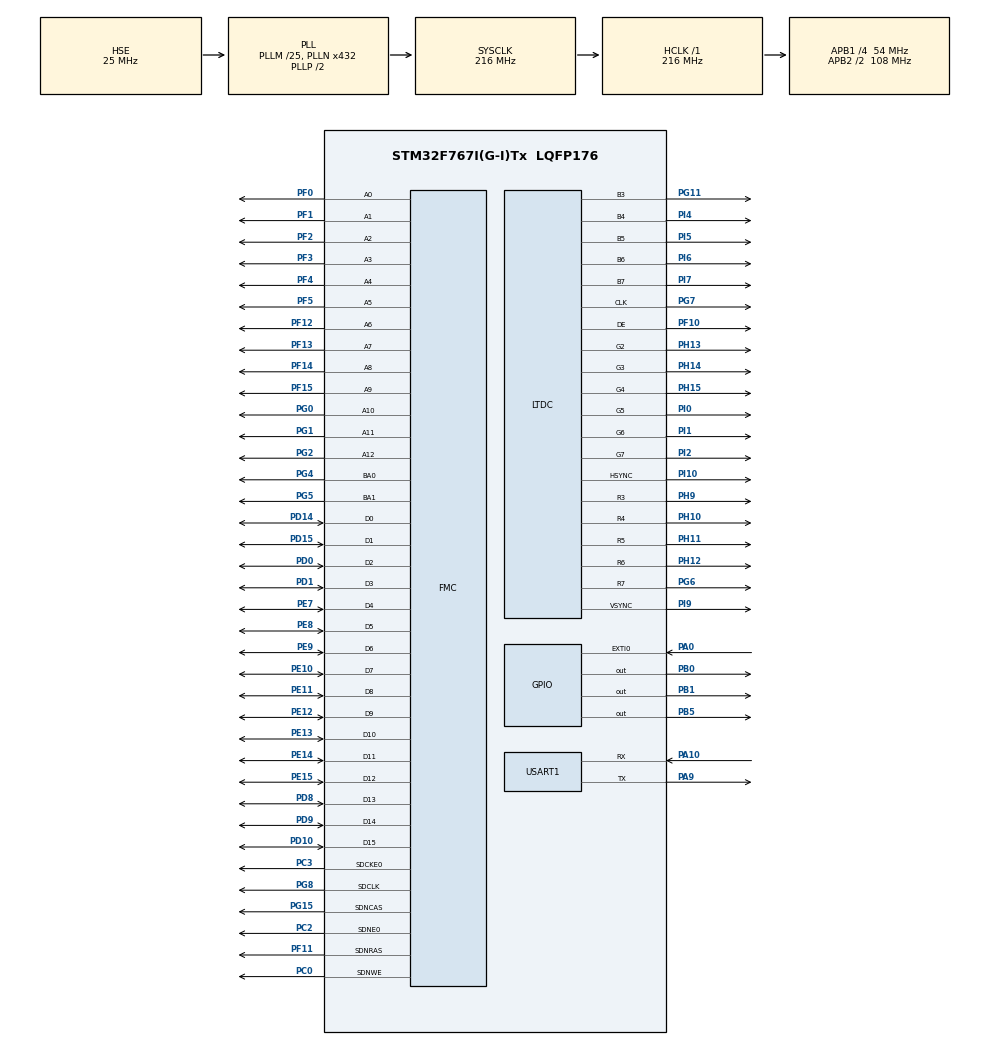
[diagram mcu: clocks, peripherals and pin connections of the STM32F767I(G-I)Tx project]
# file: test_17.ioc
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CORTEX_M7.MPU_Control=__NULL
CORTEX_M7.default_mode_Activation=1
DMA2D.ColorMode=DMA2D_OUTPUT_RGB565
FMC.CASLatency1=FMC_SDRAM_CAS_LATENCY_3
FMC.ColumnBitsNumber1=FMC_SDRAM_COLUMN_BITS_NUM_9
FMC.ExitSelfRefreshDelay1=8
FMC.LoadToActiveDelay1=2
FMC.RCDDelay1=2
FMC.RPDelay1=2
FMC.ReadBurst1=FMC_SDRAM_RBURST_ENABLE
FMC.ReadPipeDelay1=FMC_SDRAM_RPIPE_DELAY_1
FMC.RowCycleDelay1=6
FMC.SDClockPeriod1=FMC_SDRAM_CLOCK_PERIOD_2
FMC.SelfRefreshTime1=6
FMC.WriteRecoveryTime1=4
LTDC.ActiveW=800
LTDC.Alpha_L0=255
LTDC.BlendingFactor1_L0=LTDC_BLENDING_FACTOR1_PAxCA
LTDC.BlendingFactor2_L0=LTDC_BLENDING_FACTOR2_PAxCA
LTDC.FBStartAdress_L0=0xc0000000
LTDC.HBP=88
LTDC.HFP=40
LTDC.HSync=48
LTDC.ImageHeight_L0=480
LTDC.ImageWidth_L0=800
LTDC.ImageWidth_L1=0
LTDC.PixelFormat_L0=LTDC_PIXEL_FORMAT_RGB565
LTDC.PixelFormat_L1=LTDC_PIXEL_FORMAT_RGB565
LTDC.VBP=32
LTDC.VFP=13
LTDC.VSync=3
LTDC.WindowX1_L0=800
LTDC.WindowY1_L0=480
Mcu.Family=STM32F7
Mcu.Name=STM32F767I(G-I)Tx
Mcu.Package=LQFP176
NVIC.EXTI0_IRQn=true\:2\:2\:true\:false\:true\:true\:true\:true
NVIC.PriorityGroup=NVIC_PRIORITYGROUP_2
NVIC.USART1_IRQn=true\:3\:3\:true\:false\:true\:true\:true\:true
PA0/WKUP.GPIO_PuPd=GPIO_PULLDOWN
PA0/WKUP.Signal=GPXTI0
PA10.GPIO_PuPd=GPIO_PULLUP
PA10.GPIO_Speed=GPIO_SPEED_FREQ_HIGH
PA10.Mode=Asynchronous
PA10.Signal=USART1_RX
PA9.GPIO_ModeDefaultPP=GPIO_MODE_AF_PP
PA9.GPIO_PuPd=GPIO_PULLUP
PA9.GPIO_Speed=GPIO_SPEED_FREQ_HIGH
PA9.Mode=Asynchronous
PA9.Signal=USART1_TX
PB0.GPIO_PuPd=GPIO_PULLUP
PB0.GPIO_Speed=GPIO_SPEED_FREQ_HIGH
PB0.PinState=GPIO_PIN_SET
PB0.Signal=GPIO_Output
PB1.GPIO_PuPd=GPIO_PULLUP
PB1.GPIO_Speed=GPIO_SPEED_FREQ_HIGH
PB1.PinState=GPIO_PIN_SET
PB1.Signal=GPIO_Output
PB5.GPIO_PuPd=GPIO_PULLUP
PB5.GPIO_Speed=GPIO_SPEED_FREQ_HIGH
PB5.Signal=GPIO_Output
PC0.GPIO_Mode=GPIO_MODE_AF_PP
PC0.GPIO_PuPd=GPIO_PULLUP
PC0.GPIO_Speed_High_Default=GPIO_SPEED_FREQ_HIGH
PC0.Signal=FMC_SDNWE
PC14/OSC32_IN.Mode=LSE-External-Oscillator
PC14/OSC32_IN.Signal=RCC_OSC32_IN
PC15/OSC32_OUT.Mode=LSE-External-Oscillator
PC15/OSC32_OUT.Signal=RCC_OSC32_OUT
PC2.GPIO_Mode=GPIO_MODE_AF_PP
PC2.GPIO_PuPd=GPIO_PULLUP
PC2.GPIO_Speed_High_Default=GPIO_SPEED_FREQ_HIGH
PC2.Mode=SdramChipSelect1_1
PC2.Signal=FMC_SDNE0
PC3.GPIO_Mode=GPIO_MODE_AF_PP
PC3.GPIO_PuPd=GPIO_PULLUP
PC3.GPIO_Speed_High_Default=GPIO_SPEED_FREQ_HIGH
PC3.Mode=SdramChipSelect1_1
PC3.Signal=FMC_SDCKE0
PD0.GPIO_Mode=GPIO_MODE_AF_PP
PD0.GPIO_PuPd=GPIO_PULLUP
PD0.GPIO_Speed_High_Default=GPIO_SPEED_FREQ_HIGH
PD0.Signal=FMC_D2_DA2
PD1.GPIO_Mode=GPIO_MODE_AF_PP
PD1.GPIO_PuPd=GPIO_PULLUP
PD1.GPIO_Speed_High_Default=GPIO_SPEED_FREQ_HIGH
PD1.Signal=FMC_D3_DA3
PD10.GPIO_Mode=GPIO_MODE_AF_PP
PD10.GPIO_PuPd=GPIO_PULLUP
PD10.GPIO_Speed_High_Default=GPIO_SPEED_FREQ_HIGH
PD10.Signal=FMC_D15_DA15
PD14.GPIO_Mode=GPIO_MODE_AF_PP
PD14.GPIO_PuPd=GPIO_PULLUP
PD14.GPIO_Speed_High_Default=GPIO_SPEED_FREQ_HIGH
PD14.Signal=FMC_D0_DA0
PD15.GPIO_Mode=GPIO_MODE_AF_PP
PD15.GPIO_PuPd=GPIO_PULLUP
PD15.GPIO_Speed_High_Default=GPIO_SPEED_FREQ_HIGH
PD15.Signal=FMC_D1_DA1
PD8.GPIO_Mode=GPIO_MODE_AF_PP
PD8.GPIO_PuPd=GPIO_PULLUP
PD8.GPIO_Speed_High_Default=GPIO_SPEED_FREQ_HIGH
PD8.Signal=FMC_D13_DA13
PD9.GPIO_Mode=GPIO_MODE_AF_PP
PD9.GPIO_PuPd=GPIO_PULLUP
PD9.GPIO_Speed_High_Default=GPIO_SPEED_FREQ_HIGH
PD9.Signal=FMC_D14_DA14
PE0.GPIO_Mode=GPIO_MODE_AF_PP
PE0.GPIO_PuPd=GPIO_PULLUP
PE0.GPIO_Speed_High_Default=GPIO_SPEED_FREQ_HIGH
PE0.Signal=FMC_NBL0
PE1.GPIO_Mode=GPIO_MODE_AF_PP
PE1.GPIO_PuPd=GPIO_PULLUP
PE1.GPIO_Speed_High_Default=GPIO_SPEED_FREQ_HIGH
PE1.Signal=FMC_NBL1
PE10.GPIO_Mode=GPIO_MODE_AF_PP
PE10.GPIO_PuPd=GPIO_PULLUP
PE10.GPIO_Speed_High_Default=GPIO_SPEED_FREQ_HIGH
PE10.Signal=FMC_D7_DA7
PE11.GPIO_Mode=GPIO_MODE_AF_PP
PE11.GPIO_PuPd=GPIO_PULLUP
PE11.GPIO_Speed_High_Default=GPIO_SPEED_FREQ_HIGH
PE11.Signal=FMC_D8_DA8
PE12.GPIO_Mode=GPIO_MODE_AF_PP
PE12.GPIO_PuPd=GPIO_PULLUP
PE12.GPIO_Speed_High_Default=GPIO_SPEED_FREQ_HIGH
PE12.Signal=FMC_D9_DA9
PE13.GPIO_Mode=GPIO_MODE_AF_PP
PE13.GPIO_PuPd=GPIO_PULLUP
PE13.GPIO_Speed_High_Default=GPIO_SPEED_FREQ_HIGH
PE13.Signal=FMC_D10_DA10
PE14.GPIO_Mode=GPIO_MODE_AF_PP
PE14.GPIO_PuPd=GPIO_PULLUP
PE14.GPIO_Speed_High_Default=GPIO_SPEED_FREQ_HIGH
PE14.Signal=FMC_D11_DA11
PE15.GPIO_Mode=GPIO_MODE_AF_PP
PE15.GPIO_PuPd=GPIO_PULLUP
PE15.GPIO_Speed_High_Default=GPIO_SPEED_FREQ_HIGH
PE15.Signal=FMC_D12_DA12
PE7.GPIO_Mode=GPIO_MODE_AF_PP
PE7.GPIO_PuPd=GPIO_PULLUP
PE7.GPIO_Speed_High_Default=GPIO_SPEED_FREQ_HIGH
PE7.Signal=FMC_D4_DA4
PE8.GPIO_Mode=GPIO_MODE_AF_PP
PE8.GPIO_PuPd=GPIO_PULLUP
PE8.GPIO_Speed_High_Default=GPIO_SPEED_FREQ_HIGH
PE8.Signal=FMC_D5_DA5
PE9.GPIO_Mode=GPIO_MODE_AF_PP
PE9.GPIO_PuPd=GPIO_PULLUP
PE9.GPIO_Speed_High_Default=GPIO_SPEED_FREQ_HIGH
PE9.Signal=FMC_D6_DA6
PF0.GPIO_Mode=GPIO_MODE_AF_PP
PF0.GPIO_PuPd=GPIO_PULLUP
PF0.GPIO_Speed_High_Default=GPIO_SPEED_FREQ_HIGH
PF0.Signal=FMC_A0
PF1.GPIO_Mode=GPIO_MODE_AF_PP
PF1.GPIO_PuPd=GPIO_PULLUP
PF1.GPIO_Speed_High_Default=GPIO_SPEED_FREQ_HIGH
PF1.Signal=FMC_A1
PF10.GPIO_PuPd=GPIO_NOPULL
PF10.GPIO_Speed=GPIO_SPEED_FREQ_HIGH
PF10.Mode=RGB565
PF10.Signal=LTDC_DE
PF11.GPIO_Mode=GPIO_MODE_AF_PP
PF11.GPIO_PuPd=GPIO_PULLUP
PF11.GPIO_Speed_High_Default=GPIO_SPEED_FREQ_HIGH
PF11.Signal=FMC_SDNRAS
PF12.GPIO_Mode=GPIO_MODE_AF_PP
PF12.GPIO_PuPd=GPIO_PULLUP
PF12.GPIO_Speed_High_Default=GPIO_SPEED_FREQ_HIGH
PF12.Signal=FMC_A6
PF13.GPIO_Mode=GPIO_MODE_AF_PP
PF13.GPIO_PuPd=GPIO_PULLUP
PF13.GPIO_Speed_High_Default=GPIO_SPEED_FREQ_HIGH
PF13.Signal=FMC_A7
PF14.GPIO_Mode=GPIO_MODE_AF_PP
PF14.GPIO_PuPd=GPIO_PULLUP
PF14.GPIO_Speed_High_Default=GPIO_SPEED_FREQ_HIGH
PF14.Signal=FMC_A8
PF15.GPIO_Mode=GPIO_MODE_AF_PP
PF15.GPIO_PuPd=GPIO_PULLUP
PF15.GPIO_Speed_High_Default=GPIO_SPEED_FREQ_HIGH
PF15.Signal=FMC_A9
PF2.GPIO_Mode=GPIO_MODE_AF_PP
PF2.GPIO_PuPd=GPIO_PULLUP
PF2.GPIO_Speed_High_Default=GPIO_SPEED_FREQ_HIGH
PF2.Signal=FMC_A2
PF3.GPIO_Mode=GPIO_MODE_AF_PP
PF3.GPIO_PuPd=GPIO_PULLUP
PF3.GPIO_Speed_High_Default=GPIO_SPEED_FREQ_HIGH
PF3.Signal=FMC_A3
PF4.GPIO_Mode=GPIO_MODE_AF_PP
PF4.GPIO_PuPd=GPIO_PULLUP
PF4.GPIO_Speed_High_Default=GPIO_SPEED_FREQ_HIGH
PF4.Signal=FMC_A4
PF5.GPIO_Mode=GPIO_MODE_AF_PP
PF5.GPIO_PuPd=GPIO_PULLUP
PF5.GPIO_Speed_High_Default=GPIO_SPEED_FREQ_HIGH
PF5.Signal=FMC_A5
PG0.GPIO_Mode=GPIO_MODE_AF_PP
PG0.GPIO_PuPd=GPIO_PULLUP
PG0.GPIO_Speed_High_Default=GPIO_SPEED_FREQ_HIGH
PG0.Signal=FMC_A10
PG1.GPIO_Mode=GPIO_MODE_AF_PP
PG1.GPIO_PuPd=GPIO_PULLUP
PG1.GPIO_Speed_High_Default=GPIO_SPEED_FREQ_HIGH
PG1.Signal=FMC_A11
PG11.GPIO_Mode=GPIO_MODE_AF_PP
PG11.GPIO_PuPd=GPIO_NOPULL
PG11.GPIO_Speed=GPIO_SPEED_FREQ_HIGH
PG11.Mode=RGB565
PG11.Signal=LTDC_B3
PG15.GPIO_Mode=GPIO_MODE_AF_PP
PG15.GPIO_PuPd=GPIO_PULLUP
PG15.GPIO_Speed_High_Default=GPIO_SPEED_FREQ_HIGH
PG15.Signal=FMC_SDNCAS
PG2.GPIO_Mode=GPIO_MODE_AF_PP
PG2.GPIO_PuPd=GPIO_PULLUP
PG2.GPIO_Speed_High_Default=GPIO_SPEED_FREQ_HIGH
PG2.Signal=FMC_A12
PG4.GPIO_Mode=GPIO_MODE_AF_PP
PG4.GPIO_PuPd=GPIO_PULLUP
PG4.GPIO_Speed_High_Default=GPIO_SPEED_FREQ_HIGH
PG4.Signal=FMC_A14_BA0
PG5.GPIO_Mode=GPIO_MODE_AF_PP
PG5.GPIO_PuPd=GPIO_PULLUP
PG5.GPIO_Speed_High_Default=GPIO_SPEED_FREQ_HIGH
PG5.Signal=FMC_A15_BA1
PG6.GPIO_Mode=GPIO_MODE_AF_PP
PG6.GPIO_PuPd=GPIO_NOPULL
PG6.GPIO_Speed=GPIO_SPEED_FREQ_HIGH
PG6.Mode=RGB565
PG6.Signal=LTDC_R7
PG7.GPIO_Mode=GPIO_MODE_AF_PP
PG7.GPIO_PuPd=GPIO_NOPULL
PG7.GPIO_Speed=GPIO_SPEED_FREQ_HIGH
PG7.Mode=RGB565
PG7.Signal=LTDC_CLK
PG8.GPIO_Mode=GPIO_MODE_AF_PP
PG8.GPIO_PuPd=GPIO_PULLUP
PG8.GPIO_Speed_High_Default=GPIO_SPEED_FREQ_HIGH
PG8.Signal=FMC_SDCLK
PH0/OSC_IN.Mode=HSE-External-Oscillator
PH0/OSC_IN.Signal=RCC_OSC_IN
PH1/OSC_OUT.Mode=HSE-External-Oscillator
PH1/OSC_OUT.Signal=RCC_OSC_OUT
PH10.GPIO_Mode=GPIO_MODE_AF_PP
PH10.GPIO_PuPd=GPIO_NOPULL
PH10.GPIO_Speed=GPIO_SPEED_FREQ_HIGH
PH10.Mode=RGB565
PH10.Signal=LTDC_R4
PH11.GPIO_Mode=GPIO_MODE_AF_PP
PH11.GPIO_PuPd=GPIO_NOPULL
PH11.GPIO_Speed=GPIO_SPEED_FREQ_HIGH
PH11.Mode=RGB565
PH11.Signal=LTDC_R5
PH12.GPIO_Mode=GPIO_MODE_AF_PP
PH12.GPIO_PuPd=GPIO_NOPULL
PH12.GPIO_Speed=GPIO_SPEED_FREQ_HIGH
PH12.Mode=RGB565
PH12.Signal=LTDC_R6
PH13.GPIO_Mode=GPIO_MODE_AF_PP
PH13.GPIO_PuPd=GPIO_NOPULL
PH13.GPIO_Speed=GPIO_SPEED_FREQ_HIGH
PH13.Mode=RGB565
PH13.Signal=LTDC_G2
PH14.GPIO_Mode=GPIO_MODE_AF_PP
PH14.GPIO_PuPd=GPIO_NOPULL
PH14.GPIO_Speed=GPIO_SPEED_FREQ_HIGH
PH14.Mode=RGB565
PH14.Signal=LTDC_G3
PH15.GPIO_Mode=GPIO_MODE_AF_PP
PH15.GPIO_PuPd=GPIO_NOPULL
PH15.GPIO_Speed=GPIO_SPEED_FREQ_HIGH
PH15.Mode=RGB565
PH15.Signal=LTDC_G4
PH9.GPIO_Mode=GPIO_MODE_AF_PP
PH9.GPIO_PuPd=GPIO_NOPULL
PH9.GPIO_Speed=GPIO_SPEED_FREQ_HIGH
PH9.Mode=RGB565
PH9.Signal=LTDC_R3
PI0.GPIO_Mode=GPIO_MODE_AF_PP
PI0.GPIO_PuPd=GPIO_NOPULL
PI0.GPIO_Speed=GPIO_SPEED_FREQ_HIGH
PI0.Mode=RGB565
PI0.Signal=LTDC_G5
PI1.GPIO_Mode=GPIO_MODE_AF_PP
PI1.GPIO_PuPd=GPIO_NOPULL
PI1.GPIO_Speed=GPIO_SPEED_FREQ_HIGH
PI1.Mode=RGB565
PI1.Signal=LTDC_G6
PI10.GPIO_Mode=GPIO_MODE_AF_PP
PI10.GPIO_PuPd=GPIO_NOPULL
PI10.GPIO_Speed=GPIO_SPEED_FREQ_HIGH
PI10.Mode=RGB565
PI10.Signal=LTDC_HSYNC
PI2.GPIO_Mode=GPIO_MODE_AF_PP
PI2.GPIO_PuPd=GPIO_NOPULL
PI2.GPIO_Speed=GPIO_SPEED_FREQ_HIGH
PI2.Mode=RGB565
PI2.Signal=LTDC_G7
PI4.GPIO_Mode=GPIO_MODE_AF_PP
PI4.GPIO_PuPd=GPIO_NOPULL
PI4.GPIO_Speed=GPIO_SPEED_FREQ_HIGH
PI4.Mode=RGB565
PI4.Signal=LTDC_B4
PI5.GPIO_Mode=GPIO_MODE_AF_PP
PI5.GPIO_PuPd=GPIO_NOPULL
PI5.GPIO_Speed=GPIO_SPEED_FREQ_HIGH
PI5.Mode=RGB565
PI5.Signal=LTDC_B5
PI6.GPIO_Mode=GPIO_MODE_AF_PP
PI6.GPIO_PuPd=GPIO_NOPULL
PI6.GPIO_Speed=GPIO_SPEED_FREQ_HIGH
PI6.Mode=RGB565
PI6.Signal=LTDC_B6
PI7.GPIO_Mode=GPIO_MODE_AF_PP
PI7.GPIO_PuPd=GPIO_NOPULL
PI7.GPIO_Speed=GPIO_SPEED_FREQ_HIGH
PI7.Mode=RGB565
PI7.Signal=LTDC_B7
PI9.GPIO_Mode=GPIO_MODE_AF_PP
PI9.GPIO_PuPd=GPIO_NOPULL
PI9.GPIO_Speed=GPIO_SPEED_FREQ_HIGH
PI9.Mode=RGB565
PI9.Signal=LTDC_VSYNC
ProjectManager.HeapSize=0x200
ProjectManager.StackSize=0x400
ProjectManager.TargetToolchain=MDK-ARM V5.32
RCC.AHBFreq_Value=216000000
RCC.APB1CLKDivider=RCC_HCLK_DIV4
RCC.APB1Freq_Value=54000000
RCC.APB1TimFreq_Value=108000000
RCC.APB2CLKDivider=RCC_HCLK_DIV2
RCC.APB2Freq_Value=108000000
RCC.APB2TimFreq_Value=216000000
RCC.CortexFreq_Value=216000000
RCC.HCLKFreq_Value=216000000
RCC.HSE_VALUE=25000000
RCC.HSI_VALUE=16000000
RCC.PLLM=25
RCC.PLLN=432
RCC.PLLSAIN=396
RCC.PLLSAIR=3
RCC.PLLSAIRDiv=RCC_PLLSAIDIVR_4
RCC.PLLSourceVirtual=RCC_PLLSOURCE_HSE
RCC.SYSCLKFreq_VALUE=216000000
RCC.SYSCLKSource=RCC_SYSCLKSOURCE_PLLCLK
RCC.USBFreq_Value=216000000
RCC.VCOOutputFreq_Value=432000000
SH.FMC_A0.0=FMC_A0,13b-sda1
SH.FMC_A1.0=FMC_A1,13b-sda1
SH.FMC_A10.0=FMC_A10,13b-sda1
SH.FMC_A11.0=FMC_A11,13b-sda1
SH.FMC_A12.0=FMC_A12,13b-sda1
SH.FMC_A14_BA0.0=FMC_BA0,FourSdramBanks1
SH.FMC_A15_BA1.0=FMC_BA1,FourSdramBanks1
SH.FMC_A2.0=FMC_A2,13b-sda1
SH.FMC_A3.0=FMC_A3,13b-sda1
SH.FMC_A4.0=FMC_A4,13b-sda1
SH.FMC_A5.0=FMC_A5,13b-sda1
SH.FMC_A6.0=FMC_A6,13b-sda1
SH.FMC_A7.0=FMC_A7,13b-sda1
SH.FMC_A8.0=FMC_A8,13b-sda1
SH.FMC_A9.0=FMC_A9,13b-sda1
SH.FMC_D0_DA0.0=FMC_D0,sd-16b-d1
SH.FMC_D10_DA10.0=FMC_D10,sd-16b-d1
SH.FMC_D11_DA11.0=FMC_D11,sd-16b-d1
SH.FMC_D12_DA12.0=FMC_D12,sd-16b-d1
SH.FMC_D13_DA13.0=FMC_D13,sd-16b-d1
SH.FMC_D14_DA14.0=FMC_D14,sd-16b-d1
SH.FMC_D15_DA15.0=FMC_D15,sd-16b-d1
SH.FMC_D1_DA1.0=FMC_D1,sd-16b-d1
SH.FMC_D2_DA2.0=FMC_D2,sd-16b-d1
SH.FMC_D3_DA3.0=FMC_D3,sd-16b-d1
SH.FMC_D4_DA4.0=FMC_D4,sd-16b-d1
SH.FMC_D5_DA5.0=FMC_D5,sd-16b-d1
SH.FMC_D6_DA6.0=FMC_D6,sd-16b-d1
SH.FMC_D7_DA7.0=FMC_D7,sd-16b-d1
SH.FMC_D8_DA8.0=FMC_D8,sd-16b-d1
SH.FMC_D9_DA9.0=FMC_D9,sd-16b-d1
SH.FMC_NBL0.0=FMC_NBL0
SH.FMC_NBL1.0=FMC_NBL1
SH.FMC_SDCLK.0=FMC_SDCLK,13b-sda1
SH.FMC_SDNCAS.0=FMC_SDNCAS,13b-sda1
SH.FMC_SDNRAS.0=FMC_SDNRAS,13b-sda1
SH.FMC_SDNWE.0=FMC_SDNWE,13b-sda1
USART1.VirtualMode-Asynchronous=VM_ASYNC
VP_DMA2D_VS_DMA2D.Mode=DMA2D_Activate
board=custom

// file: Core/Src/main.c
/* USER CODE BEGIN Header */
/**
  ******************************************************************************
  * @file           : main.c
  * @brief          : Main program body
  ******************************************************************************
  * @attention
  *
  * Copyright (c) 2022 STMicroelectronics.
  * All rights reserved.
  *
  * This software is licensed under terms that can be found in the LICENSE file
  * in the root directory of this software component.
  * If no LICENSE file comes with this software, it is provided AS-IS.
  *
  ******************************************************************************
  */
/* USER CODE END Header */
#include "main.h"
#include "dma2d.h"
#include "ltdc.h"
#include "usart.h"
#include "gpio.h"
#include "fmc.h"

/* USER CODE BEGIN Includes */
#include "stdio.h"
#include "lcd.h"
#include "wkup.h"
/* USER CODE END Includes */

void SystemClock_Config(void);

/* USER CODE BEGIN 0 */
//加入以下代码,支持printf函数,而不需要选择use MicroLIB
#if 1
#pragma import(__use_no_semihosting)
//解决HAL库使用时,某些情况可能报错的bug
int _ttywrch(int ch)
{
    ch=ch;
	return ch;
}
//标准库需要的支持函数
struct __FILE
{
	int handle;
	/* Whatever you require here. If the only file you are using is */
	/* standard output using printf() for debugging, no file handling */
	/* is required. */
};
/* FILE is typedef’ d in stdio.h. */
FILE __stdout;
//定义_sys_exit()以避免使用半主机模式
void _sys_exit(int x)
{
	x = x;
}
//重定义fputc函数
int fputc(int ch, FILE *f)
{
	while((USART1->ISR&0X40)==0);//循环发送,直到发送完毕
	USART1->TDR = (uint8_t) ch;
	return ch;
}
#endif
/* USER CODE END 0 */

int main(void)
{

  /* MCU Configuration--------------------------------------------------------*/

  /* Reset of all peripherals, Initializes the Flash interface and the Systick. */
  HAL_Init();

  /* Configure the system clock */
  SystemClock_Config();

  /* Initialize all configured peripherals */
  MX_GPIO_Init();
  MX_DMA2D_Init();
  MX_FMC_Init();
  MX_LTDC_Init();
  MX_USART1_UART_Init();
  /* USER CODE BEGIN 2 */
	MX_FMC_Init();
	SDRAM_Initialization_Sequence(&hsdram1);//发送SDRAM初始化序列
	MX_LTDC_Init();
	LCD_Init();
	WKUP_Init();	                //待机唤醒初始化
	printf("初始化完毕");

	POINT_COLOR=RED;
	LCD_ShowString(10,40,260,32,32,	(uint8_t*)"Apollo STM32F4/F7");
	LCD_ShowString(10,80,240,24,24,	(uint8_t*)"WKUP TEST");
	LCD_ShowString(10,110,240,16,16,	(uint8_t*)"ATOM@ALIENTEK");
	LCD_ShowString(10,130,240,16,16,	(uint8_t*)"800*480");		//显示LCD ID
	LCD_ShowString(10,150,240,12,12,	(uint8_t*)"2022/8/4");
  /* USER CODE END 2 */

  /* Infinite loop */
  /* USER CODE BEGIN WHILE */
  while (1)
  {
	HAL_GPIO_TogglePin(LED0_GPIO_Port,LED0_Pin);
	HAL_Delay(250);
    /* USER CODE END WHILE */

  }
}

void SystemClock_Config(void)
{
  RCC_OscInitTypeDef RCC_OscInitStruct = {0};
  RCC_ClkInitTypeDef RCC_ClkInitStruct = {0};

  /** Configure LSE Drive Capability
  */
  HAL_PWR_EnableBkUpAccess();

  /** Configure the main internal regulator output voltage
  */
  __HAL_RCC_PWR_CLK_ENABLE();
  __HAL_PWR_VOLTAGESCALING_CONFIG(PWR_REGULATOR_VOLTAGE_SCALE1);

  /** Initializes the RCC Oscillators according to the specified parameters
  * in the RCC_OscInitTypeDef structure.
  */
  RCC_OscInitStruct.OscillatorType = RCC_OSCILLATORTYPE_HSE;
  RCC_OscInitStruct.HSEState = RCC_HSE_ON;
  RCC_OscInitStruct.PLL.PLLState = RCC_PLL_ON;
  RCC_OscInitStruct.PLL.PLLSource = RCC_PLLSOURCE_HSE;
  RCC_OscInitStruct.PLL.PLLM = 25;
  RCC_OscInitStruct.PLL.PLLN = 432;
  RCC_OscInitStruct.PLL.PLLP = RCC_PLLP_DIV2;
  RCC_OscInitStruct.PLL.PLLQ = 2;
  RCC_OscInitStruct.PLL.PLLR = 2;
  if (HAL_RCC_OscConfig(&RCC_OscInitStruct) != HAL_OK)
  {
    Error_Handler();
  }

  /** Activate the Over-Drive mode
  */
  if (HAL_PWREx_EnableOverDrive() != HAL_OK)
  {
    Error_Handler();
  }

  /** Initializes the CPU, AHB and APB buses clocks
  */
  RCC_ClkInitStruct.ClockType = RCC_CLOCKTYPE_HCLK|RCC_CLOCKTYPE_SYSCLK
                              |RCC_CLOCKTYPE_PCLK1|RCC_CLOCKTYPE_PCLK2;
  RCC_ClkInitStruct.SYSCLKSource = RCC_SYSCLKSOURCE_PLLCLK;
  RCC_ClkInitStruct.AHBCLKDivider = RCC_SYSCLK_DIV1;
  RCC_ClkInitStruct.APB1CLKDivider = RCC_HCLK_DIV4;
  RCC_ClkInitStruct.APB2CLKDivider = RCC_HCLK_DIV2;

  if (HAL_RCC_ClockConfig(&RCC_ClkInitStruct, FLASH_LATENCY_7) != HAL_OK)
  {
    Error_Handler();
  }
}

void Error_Handler(void)
{
  __disable_irq();
  while (1)
  {
  }
}
